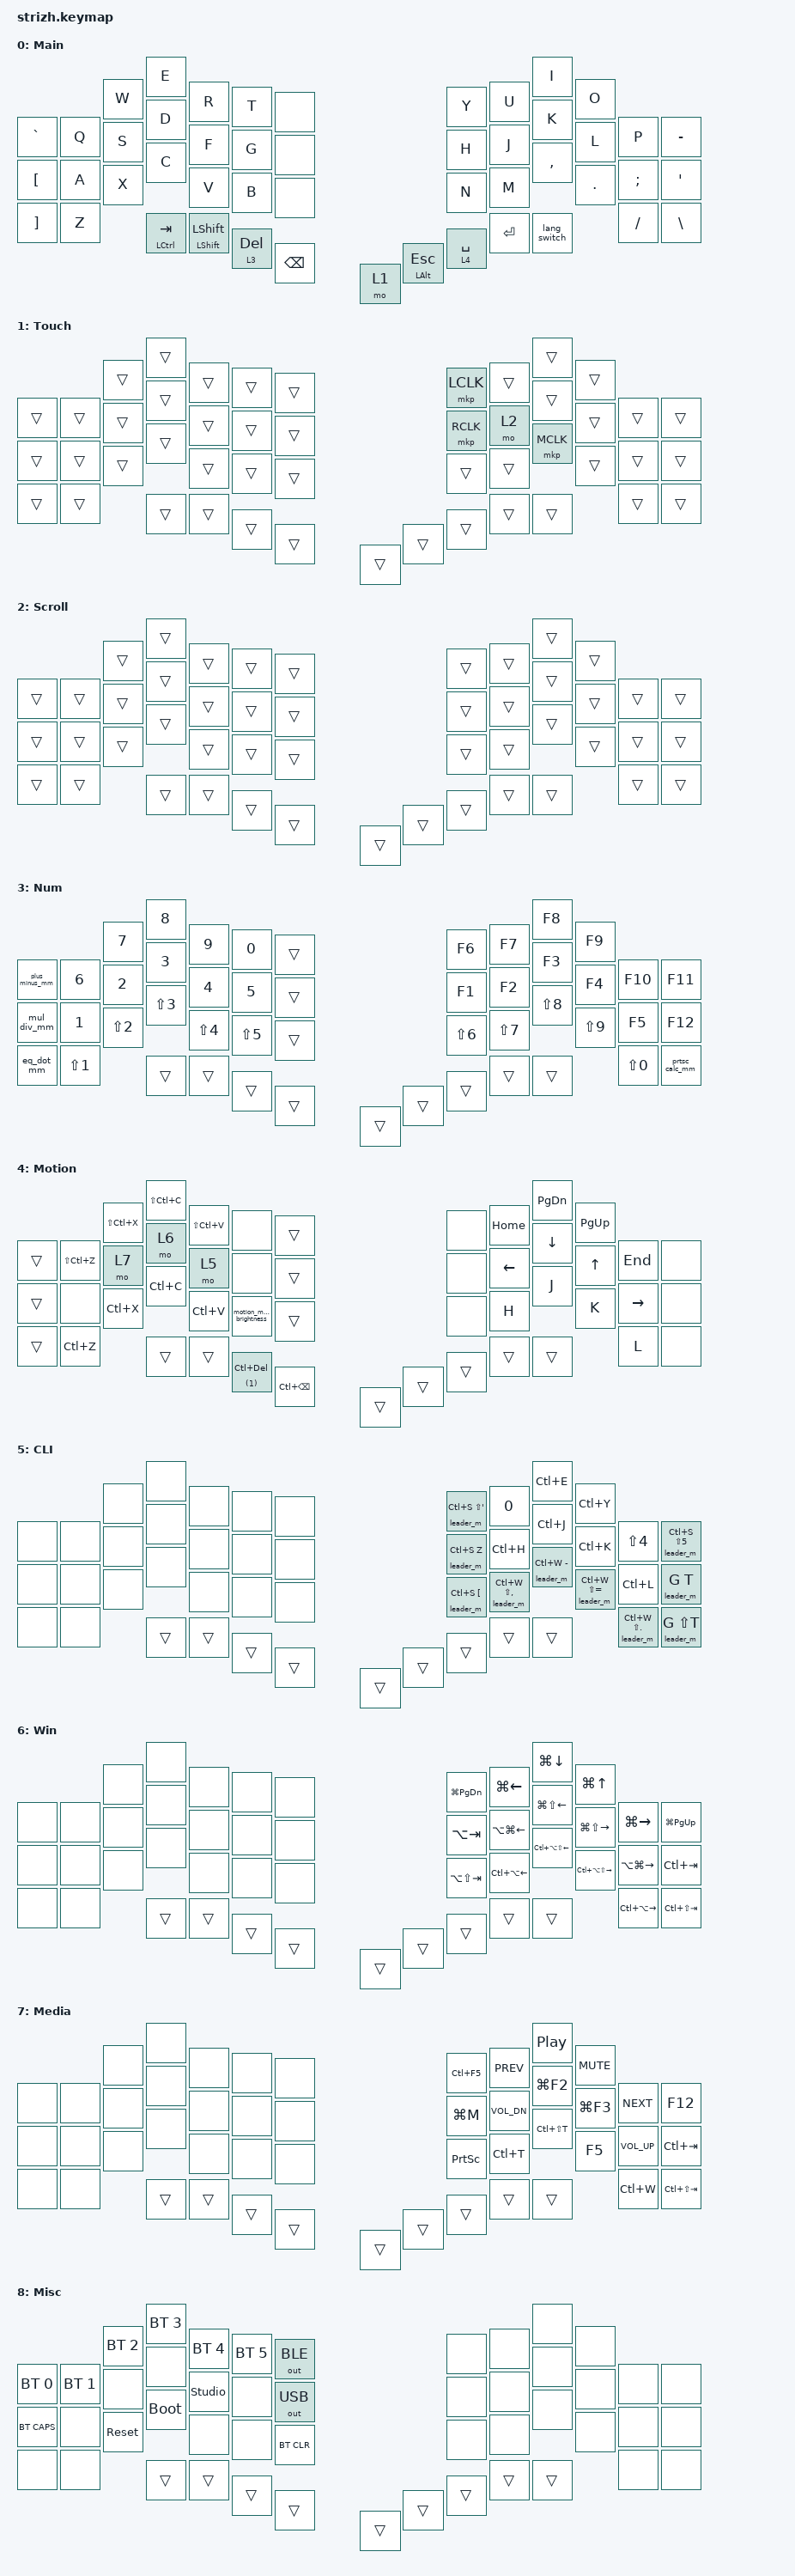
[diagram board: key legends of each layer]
#include <behaviors.dtsi>
#include <input/processors.dtsi>
#include <dt-bindings/zmk/bt.h>
#include <dt-bindings/zmk/keys.h>
#include <dt-bindings/zmk/outputs.h>
#include <dt-bindings/zmk/pointing.h>
#include <dt-bindings/zmk/input_transform.h>

&sk { quick-release; };

&glidepoint_listener {
    input-processors = <&zip_xy_scaler 2 1>;

    scroller {
        layers = <2>;
        input-processors = <&zip_xy_transform (INPUT_TRANSFORM_X_INVERT) &zip_xy_to_scroll_mapper &zip_scroll_scaler 1 4>;
    };
};

/ {
    behaviors {
        sticky_tap: sticky_tap {
            compatible = "zmk,behavior-hold-tap";
            display-name = "STICKY_TAP";
            bindings = <&kp>, <&sk>;

            #binding-cells = <2>;
            tapping-term-ms = <280>;
            quick-tap-ms = <175>;
            require-prior-idle-ms = <150>;
            flavor = "hold-preferred";
            hold-while-undecided;
            hold-while-undecided-linger;
        };

        lang_switch: lang_switch {
            compatible = "zmk,behavior-tap-dance";
            display-name = "LANG_SWITCH";
            #binding-cells = <0>;
            bindings = <&kp LEFT_GUI>, <&kp LG(SPACE)>;

            tapping-term-ms = <500>;
        };

        plus_minus_mm: plus_minus_mm {
            compatible = "zmk,behavior-mod-morph";
            display-name = "PLUS_MINUS_MM";
            bindings = <&kp PLUS>, <&kp MINUS>;

            #binding-cells = <0>;
            mods = <(MOD_LSFT|MOD_RSFT)>;
        };

        mul_div_mm: mul_div_mm {
            compatible = "zmk,behavior-mod-morph";
            display-name = "MUL_DIV_MM";
            bindings = <&kp ASTERISK>, <&kp SLASH>;

            #binding-cells = <0>;
            mods = <(MOD_LSFT|MOD_RSFT)>;
        };

        eq_dot_mm: eq_dot_mm {
            compatible = "zmk,behavior-mod-morph";
            display-name = "EQ_DOT_MM";
            bindings = <&kp EQUAL>, <&kp DOT>;

            #binding-cells = <0>;
            mods = <(MOD_LSFT|MOD_RSFT)>;
        };

        prtsc_calc_mm: prtsc_calc_mm {
            compatible = "zmk,behavior-mod-morph";
            display-name = "PRTSC_CALC_MM";
            bindings = <&kp PRINTSCREEN>, <&kp K_CALC>;

            #binding-cells = <0>;
            mods = <(MOD_LSFT|MOD_RSFT)>;
        };

        motion_mod_brightness: motion_mod_brightness {
            compatible = "zmk,behavior-mod-morph";
            display-name = "MOTION_MOD_BRIGHTNESS";
            bindings = <&kp C_BRIGHTNESS_INC>, <&kp C_BRIGHTNESS_DEC>;

            #binding-cells = <0>;
            mods = <(MOD_LSFT)>;
        };
    };

    macros {
        leader_m: leader_m {
            compatible = "zmk,behavior-macro-two-param";
            #binding-cells = <2>;
            bindings = <&macro_param_1to1 &kp MACRO_PLACEHOLDER &macro_param_2to1 &kp MACRO_PLACEHOLDER>;
            display-name = "LEADER_KEY_MACRO";
        };
    };

    keymap {
        compatible = "zmk,keymap";

        main_layer {
            bindings = <
&kp GRAVE  &kp Q  &kp W  &kp E          &kp R                      &kp T      &none                                 &kp Y        &kp U      &kp I         &kp O    &kp P     &kp MINUS
&kp LBKT   &kp A  &kp S  &kp D          &kp F                      &kp G      &none                                 &kp H        &kp J      &kp K         &kp L    &kp SEMI  &kp SQT
&kp RBKT   &kp Z  &kp X  &kp C          &kp V                      &kp B      &none                                 &kp N        &kp M      &kp COMMA     &kp DOT  &kp FSLH  &kp BACKSLASH
                         &mt LCTRL TAB  &sticky_tap LSHIFT LSHIFT  &lt 3 DEL  &kp BACKSPACE    &mo 1  &mt LALT ESC  &lt 4 SPACE  &kp ENTER  &lang_switch
            >;

            display-name = "Main";
        };

        touch_layer {
            bindings = <
&trans  &trans  &trans  &trans  &trans  &trans  &trans                    &mkp LCLK  &trans  &trans    &trans  &trans  &trans
&trans  &trans  &trans  &trans  &trans  &trans  &trans                    &mkp RCLK  &mo 2   &trans    &trans  &trans  &trans
&trans  &trans  &trans  &trans  &trans  &trans  &trans                    &trans     &trans  &mkp MCLK &trans  &trans  &trans
                        &trans  &trans  &trans  &trans    &trans  &trans  &trans     &trans  &trans
            >;

            display-name = "Touch";
        };

        scroll_layer {
            bindings = <
&trans  &trans  &trans  &trans  &trans  &trans  &trans                    &trans  &trans  &trans  &trans  &trans  &trans
&trans  &trans  &trans  &trans  &trans  &trans  &trans                    &trans  &trans  &trans  &trans  &trans  &trans
&trans  &trans  &trans  &trans  &trans  &trans  &trans                    &trans  &trans  &trans  &trans  &trans  &trans
                        &trans  &trans  &trans  &trans    &trans  &trans  &trans  &trans  &trans
            >;

            display-name = "Scroll";
        };

        num_layer {
            bindings = <
&plus_minus_mm  &kp N6      &kp N7      &kp N8            &kp N9          &kp N0      &trans                    &kp F6      &kp F7      &kp F8      &kp F9      &kp F10     &kp F11
&mul_div_mm     &kp N1      &kp N2      &kp N3            &kp N4          &kp N5      &trans                    &kp F1      &kp F2      &kp F3      &kp F4      &kp F5      &kp F12
&eq_dot_mm      &kp LS(N1)  &kp LS(N2)  &kp LS(N3)        &kp LS(N4)      &kp LS(N5)  &trans                    &kp LS(N6)  &kp LS(N7)  &kp LS(N8)  &kp LS(N9)  &kp LS(N0)  &prtsc_calc_mm
                                        &trans            &trans          &trans      &trans    &trans  &trans  &trans      &trans      &trans
            >;

            display-name = "Num";
        };

        motion_layer {
            bindings = <
&trans  &kp LS(LC(Z))  &kp LS(LC(X))  &kp LS(LC(C))  &kp LS(LC(V))  &none                   &trans                               &none   &kp HOME  &kp PAGE_DOWN  &kp PAGE_UP  &kp END    &none
&trans  &none          &mo 7          &mo 6          &mo 5          &none                   &trans                               &none   &kp LEFT  &kp DOWN       &kp UP       &kp RIGHT  &none
&trans  &kp LC(Z)      &kp LC(X)      &kp LC(C)      &kp LC(V)      &motion_mod_brightness  &trans                               &none   &kp H     &kp J          &kp K        &kp L      &none
                                      &trans         &trans         &lt (1) LC(DELETE)      &kp LC(BACKSPACE)    &trans  &trans  &trans  &trans    &trans
            >;

            display-name = "Motion";
        };

        cli_layer {
            bindings = <
&none  &none  &none  &none   &none   &none   &none                     &leader_m LC(S) LS(SQT)  &kp N0                     &kp LC(E)              &kp LC(Y)                  &kp LS(N4)                  &leader_m LC(S) LS(N5)
&none  &none  &none  &none   &none   &none   &none                     &leader_m LC(S) Z        &kp LC(H)                  &kp LC(J)              &kp LC(K)                  &kp LC(L)                   &leader_m G T
&none  &none  &none  &none   &none   &none   &none                     &leader_m LC(S) LBKT     &leader_m LC(W) LS(COMMA)  &leader_m LC(W) MINUS  &leader_m LC(W) LS(EQUAL)  &leader_m LC(W) LS(PERIOD)  &leader_m G LS(T)
                     &trans  &trans  &trans  &trans    &trans  &trans  &trans                   &trans                     &trans
            >;

            display-name = "CLI";
        };

        window_layer {
            bindings = <
&none  &none  &none  &none   &none   &none   &none                     &kp LG(PAGE_DOWN)  &kp LG(LEFT)      &kp LG(DOWN)          &kp LG(UP)             &kp LG(RIGHT)      &kp LG(PAGE_UP)
&none  &none  &none  &none   &none   &none   &none                     &kp LA(TAB)        &kp LA(LG(LEFT))  &kp LG(LS(LEFT))      &kp LG(LS(RIGHT))      &kp LA(LG(RIGHT))  &kp LC(TAB)
&none  &none  &none  &none   &none   &none   &none                     &kp LA(LS(TAB))    &kp LC(LA(LEFT))  &kp LC(LA(LS(LEFT)))  &kp LC(LA(LS(RIGHT)))  &kp LC(LA(RIGHT))  &kp LC(LS(TAB))
                     &trans  &trans  &trans  &trans    &trans  &trans  &trans             &trans            &trans
            >;

            display-name = "Win";
        };

        media_layer {
            bindings = <
&none  &none  &none  &none   &none   &none   &none                     &kp LC(F5)       &kp C_PREV    &kp C_PLAY_PAUSE  &kp K_MUTE  &kp C_NEXT    &kp F12
&none  &none  &none  &none   &none   &none   &none                     &kp LG(M)        &kp C_VOL_DN  &kp LG(F2)        &kp LG(F3)  &kp C_VOL_UP  &kp LC(TAB)
&none  &none  &none  &none   &none   &none   &none                     &kp PRINTSCREEN  &kp LC(T)     &kp LC(LS(T))     &kp F5      &kp LC(W)     &kp LC(LS(TAB))
                     &trans  &trans  &trans  &trans    &trans  &trans  &trans           &trans        &trans
            >;

            display-name = "Media";
        };

        misc_layer {
            bindings = <
&bt BT_SEL 0  &bt BT_SEL 1  &bt BT_SEL 2  &bt BT_SEL 3  &bt BT_SEL 4    &bt BT_SEL 5  &out OUT_BLE                    &none   &none   &none  &none  &none  &none
&bt CAPS      &none         &none         &none         &studio_unlock  &none         &out OUT_USB                    &none   &none   &none  &none  &none  &none
&none         &none         &sys_reset    &bootloader   &none           &none         &bt BT_CLR                      &none   &none   &none  &none  &none  &none
                                          &trans        &trans          &trans        &trans          &trans  &trans  &trans  &trans  &trans
            >;

            display-name = "Misc";
        };
    };

    conditional_layers {
        compatible = "zmk,conditional-layers";

        misc_layer {
            if-layers = <3 4>;
            then-layer = <8>;
        };
    };
};
